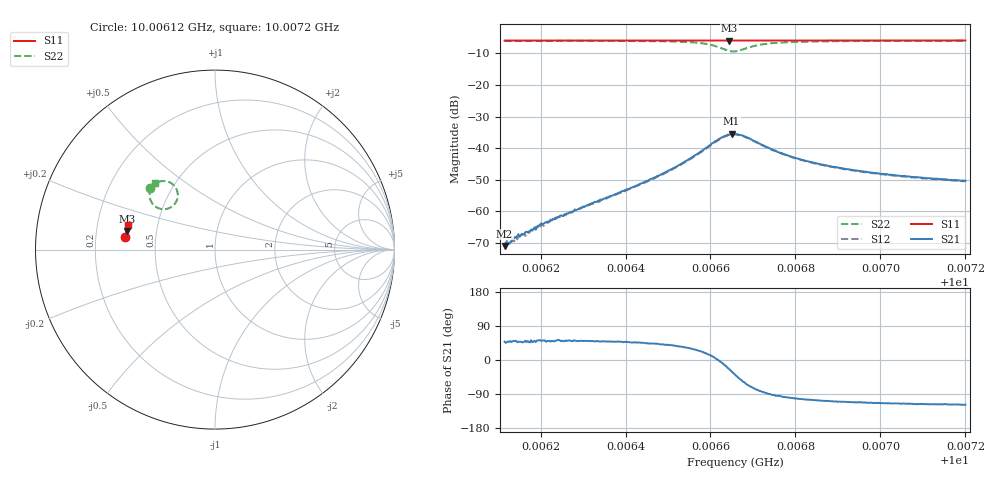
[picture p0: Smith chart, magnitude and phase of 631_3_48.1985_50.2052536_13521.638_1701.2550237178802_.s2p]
#  HZ  S  RI  R  50.00
! Rohde & Schwarz Vector Network Analyzer
! Rohde-Schwarz,ZNB20-2Port,1311601062101988,3.16
! Created: UTC 3/20/2024, 12:04:19 PM
! freq[Hz]  re:S11  im:S11  re:S21  im:S21  re:S12  im:S12  re:S22  im:S22
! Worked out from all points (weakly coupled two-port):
!   401 points, 10.00612 GHz to 10.0072 GHz, reference 50 ohm
!   highest |S21| = -35.47 dB at 10.00665 GHz (marker M1); lowest = -70.9 dB at 10.00612 GHz (marker M2)
!   lowest |S11| = -6.0 dB at 10.00664 GHz (marker M3), VSWR 3.02, Z = 16.7 + j4.54 ohm
!   |S11| at or under -10 dB: nowhere
!   |S22| runs from -9.4 to -6.0 dB; largest |S21 - S12| = 0.0013
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1.0006115e10  -0.4988 0.0677  0.000188 0.000212  0.000179 0.000222  -0.3618 0.3434
1.0006129e10  -0.4987 0.0687  0.000211 0.000251  0.00022 0.000232  -0.3612 0.3445
1.0006143e10  -0.4985 0.0695  0.000244 0.000294  0.000225 0.000322  -0.3601 0.3454
1.0006153e10  -0.4985 0.0702  0.000277 0.000312  0.000269 0.000318  -0.3593 0.3462
1.0006175e10  -0.4982 0.0718  0.000329 0.000346  0.000288 0.000384  -0.3579 0.3477
1.0006197e10  -0.4981 0.0731  0.00037 0.00047  0.000359 0.000462  -0.3562 0.3495
1.0006297e10  -0.4973 0.0796  0.000725 0.000886  0.000677 0.000912  -0.3477 0.3575
1.0006392e10  -0.4965 0.0859  0.00141 0.00155  0.00125 0.00155  -0.3359 0.3666
1.0006479e10  -0.4955 0.0914  0.00275 0.00248  0.00255 0.00256  -0.3173 0.3765
1.0006533e10  -0.4948 0.0951  0.00472 0.00327  0.00444 0.0034  -0.2945 0.382
1.0006587e10  -0.4936 0.0988  0.0093 0.00318  0.00888 0.00354  -0.2494 0.3732
1.0006625e10  -0.4926 0.1008  0.0146 -0.00145  0.0143 -0.000627  -0.2091 0.3201
1.0006644e10  -0.4922 0.1015  0.0149 -0.00673  0.0151 -0.0057  -0.2146 0.2703
1.000665e10  -0.4922 0.1017  0.0145 -0.00855  0.0147 -0.00729  -0.2227 0.2567
1.0006658e10  -0.4922 0.102  0.0131 -0.0105  0.0134 -0.00942  -0.2395 0.2401
1.0006677e10  -0.4924 0.1027  0.00853 -0.0133  0.00916 -0.0125  -0.2875 0.2249
1.000672e10  -0.4927 0.1056  0.00135 -0.0113  0.00182 -0.011  -0.3509 0.2598
1.0006777e10  -0.4923 0.1094  -0.00112 -0.00778  -0.000714 -0.00774  -0.3641 0.3017
1.0006839e10  -0.4917 0.1136  -0.00159 -0.00574  -0.00129 -0.00574  -0.3612 0.3251
1.0006918e10  -0.4907 0.1188  -0.00165 -0.0044  -0.00142 -0.0044  -0.3551 0.3416
1.0007021e10  -0.4892 0.1254  -0.00155 -0.00346  -0.00135 -0.00345  -0.3474 0.3548
1.00072e10  -0.4866 0.1368  -0.00142 -0.00269  -0.00127 -0.0027  -0.3358 0.3698
